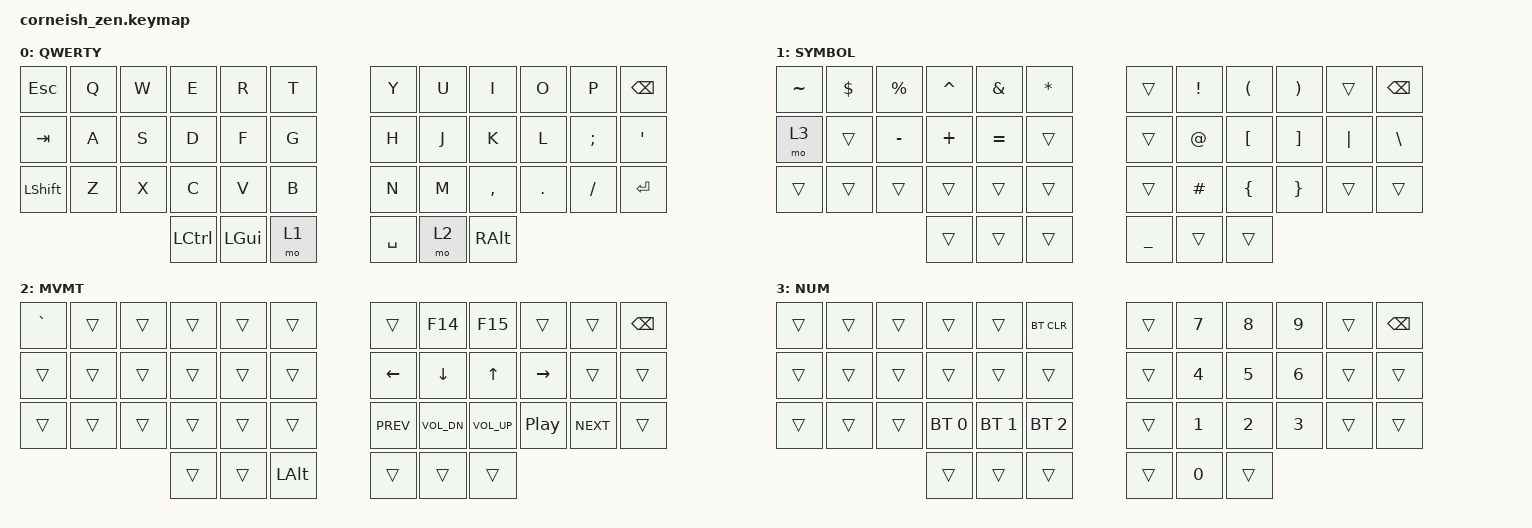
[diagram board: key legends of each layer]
#include <behaviors.dtsi>
#include <dt-bindings/zmk/keys.h>
#include <dt-bindings/zmk/bt.h>

#define QWERTY 0
#define SYMBOL 1
#define MVMT 2
#define NUM 3

/ {
  chosen {
    zmk,matrix_transform = &default_transform;
    //zmk,matrix_transform = &five_column_transform;
  };
};

/ {
        keymap {
                compatible = "zmk,keymap";

                default_layer {
                        label = "QWERTY";
// -----------------------------------------------------------------------------------------
// |  ESC |  Q  |  W  |  E  |  R  |  T  |   |  Y  |  U   |  I  |  O  |  P  | BKSP |
// |  TAB |  A  |  S  |  D  |  F  |  G  |   |  H  |  J   |  K  |  L  |  ;  |  '   |
// | SHFT |  Z  |  X  |  C  |  V  |  B  |   |  N  |  M   |  ,  |  .  |  /  | ENT  |
//                    |LCTRL| CMD | MO1 |   | SPC | MO 2 | ALT |
                        bindings = <
   &kp ESC   &kp Q &kp W &kp E &kp R &kp T     &kp Y &kp U  &kp I     &kp O   &kp P    &kp BSPC
   &kp TAB   &kp A &kp S &kp D &kp F &kp G     &kp H &kp J  &kp K     &kp L   &kp SEMI &kp SQT
   &kp LSHFT &kp Z &kp X &kp C &kp V &kp B     &kp N &kp M  &kp COMMA &kp DOT &kp FSLH &kp RET
                  &kp LCTRL &kp LGUI &mo 1     &kp SPACE &mo 2 &kp RALT
                        >;
                };
                symbol_layer {
                        label = "SYMBOL";
// -----------------------------------------------------------------------------------------
// |  ~   |  $  |  %  |  ^  |  &  |  *  |   |     |  !  |  (  |  )  |     | BKSP |
// | MO 3 |     |  -  |  +  |  =  |     |   |     |  @  |  [  |  ]  |  |  |  \   |
// |      |     |     |     |     |     |   |     |  #  |  {  |  }  |     |      |
//                    |     |     |     |   |  _  |     |     |
                        bindings = <
   &kp TILDE &kp DLLR &kp PRCNT &kp CARET &kp AMPS  &kp STAR    &trans &kp EXCL &kp LPAR &kp RPAR &trans   &kp BSPC
   &mo 3     &trans   &kp MINUS &kp PLUS  &kp EQUAL &trans      &trans &kp AT   &kp LBKT &kp RBKT &kp PIPE &kp BSLH
   &trans    &trans   &trans    &trans    &trans    &trans      &trans &kp HASH &kp LBRC &kp RBRC &trans   &trans
                                &trans    &trans    &trans      &kp UNDER &trans &trans
                        >;
                };

                special_layer {
                        label = "MVMT";
// -----------------------------------------------------------------------------------------
// |  `   |     |     |     |     |     |   |     |Brt D|Brt U|     |     | BKSP |
// |      |     |     |     |     |     |   | Lft | Dwn |  Up | Rght|     |      |
// |      |     |     |     |     |     |   | Prev|Vol D|Vol U| PP  | Next|      |
//                    |     |     | ALT |   |     |     |     |
                        bindings = <
   &kp GRAVE &trans &trans &trans &trans &trans    &trans     &kp F14      &kp F15      &trans       &trans     &kp BSPC
   &trans    &trans &trans &trans &trans &trans    &kp LEFT   &kp DOWN     &kp UP       &kp RIGHT    &trans     &trans
   &trans    &trans &trans &trans &trans &trans    &kp C_PREV &kp C_VOL_DN &kp C_VOL_UP &kp C_PP     &kp C_NEXT &trans
                           &trans &trans &kp LALT  &trans &trans &trans
                        >;
                };

                number_layer {
                        label = "NUM";
// -----------------------------------------------------------------------------------------
// |      |     |     |     |     |  BT |   |     |  7  |  8  |  9  |     | BKSP |
// |      |     |     |     |     |     |   |     |  4  |  5  |  6  |     |      |
// |      |     |     | BT1 | BT2 | BT3 |   |     |  1  |  2  |  3  |     |      |
//                    |     |     |     |   |     |  0  |     |
                        bindings = <
   &trans &trans &trans &trans       &trans       &bt BT_CLR   &trans &kp N7 &kp N8 &kp N9 &trans &kp BSPC
   &trans &trans &trans &trans       &trans       &trans       &trans &kp N4 &kp N5 &kp N6 &trans &trans
   &trans &trans &trans &bt BT_SEL 0 &bt BT_SEL 1 &bt BT_SEL 2 &trans &kp N1 &kp N2 &kp N3 &trans &trans
                        &trans &trans &trans       &trans &kp N0 &trans
                        >;
                };
        };
};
